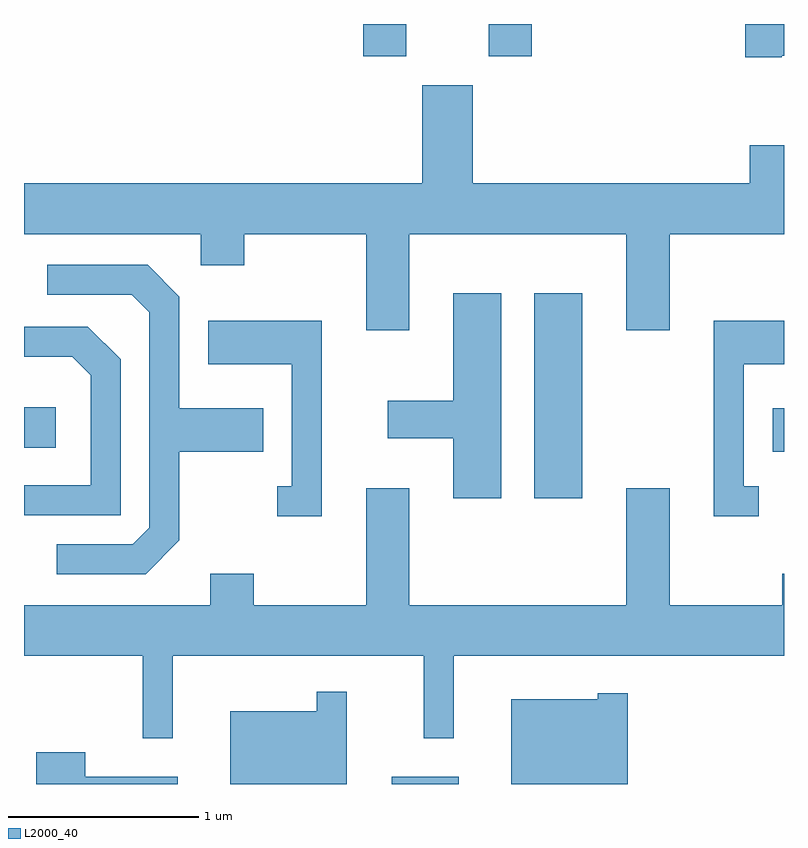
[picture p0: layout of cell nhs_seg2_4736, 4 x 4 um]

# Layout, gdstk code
import gdstk
lib = gdstk.Library(unit=1e-6, precision=1e-09)
def R(c, l, rs):  # rectangles x0, y0, x1, y1
    for r in rs: c.add(gdstk.rectangle(r[:2], r[2:], *l))
def P(c, l, *ps):  # polygons
    for p in ps: c.add(gdstk.Polygon(p, *l))
L2000_40 = (2000, 40)

nhs_seg2_4736 = lib.new_cell('nhs_seg2_4736')
R(nhs_seg2_4736, L2000_40, [(325.546,1109.802,325.899,1109.839), (326.296,1111.306,326.549,1112.384), (327.551,1111.551,327.611,1111.779), (323.611,1111.571,323.779,1111.784), (325.396,1113.631,325.624,1113.802), (326.056,1113.631,326.284,1113.802)])
P(nhs_seg2_4736, L2000_40, [(327.6,1113.636),(327.611,1113.636),(327.611,1113.802),(327.406,1113.802),(327.406,1113.626),(327.6,1113.626)],
  [(325.639,1112.696),(326.781,1112.696),(326.781,1112.191),(327.009,1112.191),(327.009,1112.696),(327.611,1112.696),(327.611,1113.164),(327.431,1113.164),(327.431,1112.964),(325.974,1112.964),(325.974,1113.479),(325.706,1113.479),(325.706,1112.964),(323.611,1112.964),(323.611,1112.696),(324.541,1112.696),(324.541,1112.531),(324.769,1112.531),(324.769,1112.696),(325.411,1112.696),(325.411,1112.191),(325.639,1112.191)],
  [(324.429,1111.084),(324.429,1111.551),(324.869,1111.551),(324.869,1111.779),(324.429,1111.779),(324.429,1112.367),(324.262,1112.534),(323.733,1112.534),(323.733,1112.376),(324.179,1112.376),(324.271,1112.284),(324.271,1111.152),(324.184,1111.064),(323.783,1111.064),(323.783,1110.906),(324.252,1110.906)],
  [(326.124,1112.384),(325.871,1112.384),(325.871,1111.819),(325.526,1111.819),(325.526,1111.621),(325.871,1111.621),(325.871,1111.306),(326.124,1111.306)],
  [(325.179,1112.239),(324.581,1112.239),(324.581,1112.011),(325.021,1112.011),(325.021,1111.369),(324.943,1111.369),(324.943,1111.211),(325.179,1111.211)],
  [(327.478,1111.369),(327.399,1111.369),(327.399,1112.011),(327.611,1112.011),(327.611,1112.239),(327.241,1112.239),(327.241,1111.211),(327.478,1111.211)],
  [(324.119,1112.037),(323.947,1112.209),(323.611,1112.209),(323.611,1112.051),(323.864,1112.051),(323.961,1111.954),(323.961,1111.374),(323.611,1111.374),(323.611,1111.216),(324.119,1111.216)],
  [(327.611,1110.909),(327.601,1110.909),(327.601,1110.744),(327.009,1110.744),(327.009,1111.359),(326.781,1111.359),(326.781,1110.744),(325.639,1110.744),(325.639,1111.359),(325.411,1111.359),(325.411,1110.744),(324.819,1110.744),(324.819,1110.909),(324.591,1110.909),(324.591,1110.744),(323.611,1110.744),(323.611,1110.476),(324.236,1110.476),(324.236,1110.043),(324.394,1110.043),(324.394,1110.476),(325.716,1110.476),(325.716,1110.043),(325.874,1110.043),(325.874,1110.476),(327.611,1110.476)],
  [(325.309,1110.288),(325.151,1110.288),(325.151,1110.184),(324.696,1110.184),(324.696,1109.802),(325.309,1109.802)],
  [(326.789,1110.279),(326.631,1110.279),(326.631,1110.249),(326.176,1110.249),(326.176,1109.802),(326.789,1109.802)],
  [(324.419,1109.839),(323.934,1109.839),(323.934,1109.969),(323.676,1109.969),(323.676,1109.802),(324.419,1109.802)])

lib.write_gds('nhs_seg2_4736.gds')
